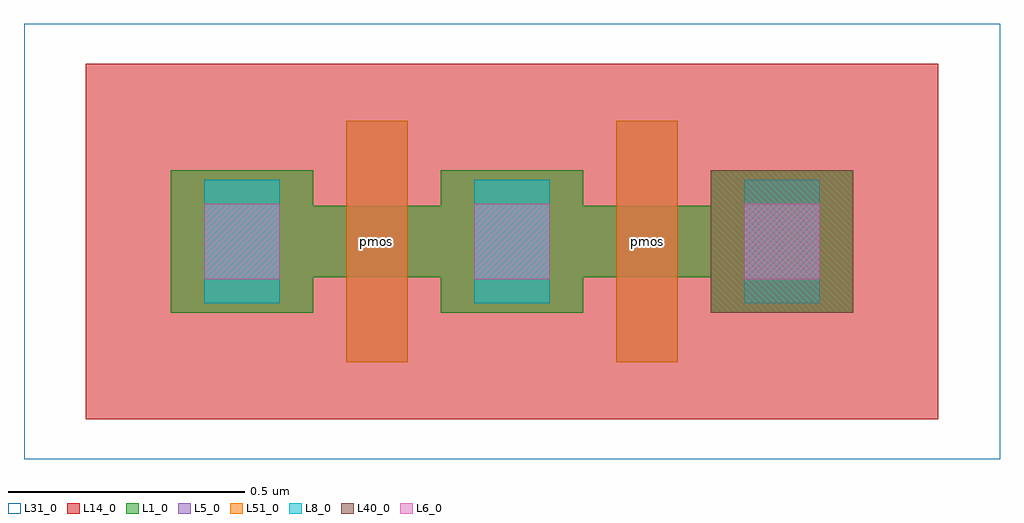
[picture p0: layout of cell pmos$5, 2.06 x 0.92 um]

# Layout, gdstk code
import gdstk
lib = gdstk.Library(unit=1e-6, precision=1e-09)
def R(c, l, rs):  # rectangles x0, y0, x1, y1
    for r in rs: c.add(gdstk.rectangle(r[:2], r[2:], *l))
def A(c, l, x, y, w, h, nx, ny, dx, dy):  # array of equal rectangles
    R(c, l, [(x+i*dx, y+j*dy, x+i*dx+w, y+j*dy+h) for i in range(nx) for j in range(ny)])
L1_0 = (1, 0)
L5_0 = (5, 0)
L6_0 = (6, 0)
L8_0 = (8, 0)
L14_0 = (14, 0)
L31_0 = (31, 0)
L40_0 = (40, 0)
L51_0 = (51, 0)

pmos_5 = lib.new_cell('pmos$5')
A(pmos_5, L1_0, 0, 0, 0.3, 0.3, 3, 1, 0.57, 0)
R(pmos_5, L1_0, [(0,0.075,1.44,0.225)])
R(pmos_5, L5_0, [(0.37,-0.105,0.5,0.405), (0.94,-0.105,1.07,0.405)])
A(pmos_5, L6_0, 0.07, 0.07, 0.16, 0.16, 3, 1, 0.57, 0)
A(pmos_5, L8_0, 0.07, 0.02, 0.16, 0.26, 3, 1, 0.57, 0)
R(pmos_5, L14_0, [(-0.18,-0.225,1.62,0.525)])
R(pmos_5, L31_0, [(-0.31,-0.31,1.75,0.61)])
R(pmos_5, L40_0, [(1.14,0,1.44,0.3)])
R(pmos_5, L51_0, [(0.37,-0.105,0.5,0.405), (0.94,-0.105,1.07,0.405)])
pmos_5.add(gdstk.Label('pmos', (0.435,0.15), layer=63, texttype=0))
pmos_5.add(gdstk.Label('pmos', (0.435,0.15), layer=51, texttype=0))
pmos_5.add(gdstk.Label('pmos', (1.005,0.15), layer=51, texttype=0))

lib.write_gds('pmos_5.gds')
